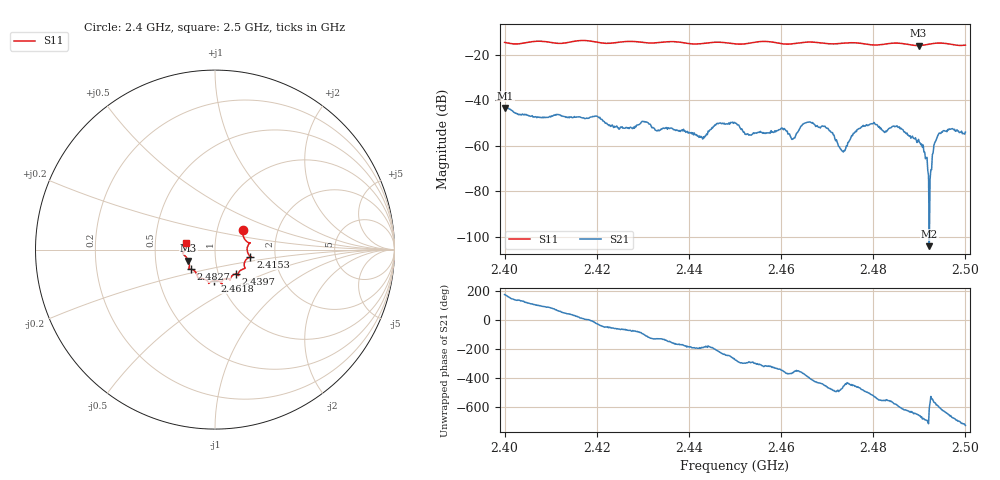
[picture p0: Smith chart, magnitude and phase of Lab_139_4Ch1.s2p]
# Hz S RI R 50
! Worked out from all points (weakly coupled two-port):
!   601 points, 2.4 GHz to 2.5 GHz, reference 50 ohm
!   highest |S21| = -43.34 dB at 2.4002 GHz (marker M1); lowest = -104.2 dB at 2.4922 GHz (marker M2)
!   lowest |S11| = -15.9 dB at 2.4898 GHz (marker M3), VSWR 1.38, Z = 36.9 - j4.63 ohm
!   |S11| at or under -10 dB: start of sweep to end of sweep
!   S12 and S22 are empty: the file has one direction only
!   S11 on the Smith chart (normalised r, x): 2.4 GHz: 1.33, +0.30; 2.4153 GHz: 1.48, -0.12; 2.4397 GHz: 1.21, -0.34; 2.4618 GHz: 0.94, -0.33; 2.4827 GHz: 0.75, -0.17; 2.5 GHz: 0.72, +0.06
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2.4e9  0.155 0.1072  -0.00658 0.000271  0 0  0 0
2.400167e9  0.1547 0.1048  -0.00678 0.000567  0 0  0 0
2.415333e9  0.1969 -0.0395  0.00365 0.00219  0 0  0 0
2.416667e9  0.2027 -0.0435  0.004 0.00115  0 0  0 0
2.433333e9  0.1297 -0.134  -0.00131 -0.0018  0 0  0 0
2.439667e9  0.1168 -0.136  -0.00207 -3.25e-05  0 0  0 0
2.443e9  0.0886 -0.1546  -0.00139 0.000214  0 0  0 0
2.446167e9  0.0844 -0.1703  -0.00276 0.00147  0 0  0 0
2.45e9  0.0654 -0.162  8.85e-05 0.00323  0 0  0 0
2.452667e9  0.0404 -0.1731  0.000689 0.0017  0 0  0 0
2.461833e9  -0.00327 -0.1728  0.0018 -0.000242  0 0  0 0
2.466667e9  -0.0347 -0.188  0.00206 -0.00241  0 0  0 0
2.470667e9  -0.0547 -0.1663  -0.000722 -0.00199  0 0  0 0
2.473333e9  -0.0835 -0.1599  -0.000212 -0.000734  0 0  0 0
2.478e9  -0.0989 -0.1445  -0.00161 -0.00214  0 0  0 0
2.482667e9  -0.135 -0.1087  -0.00205 0.000489  0 0  0 0
2.483333e9  -0.14 -0.1083  -0.00231 0.000524  0 0  0 0
2.489833e9  -0.1481 -0.0612  0.00052 0.00128  0 0  0 0
2.492167e9  -0.1693 -0.0328  -2.74e-06 5.56e-06  0 0  0 0
2.493333e9  -0.1782 -0.0251  -0.00103 0.000528  0 0  0 0
2.494333e9  -0.1807 -0.0214  -0.000939 0.00167  0 0  0 0
2.5e9  -0.1596 0.0386  0.002 -0.000144  0 0  0 0
